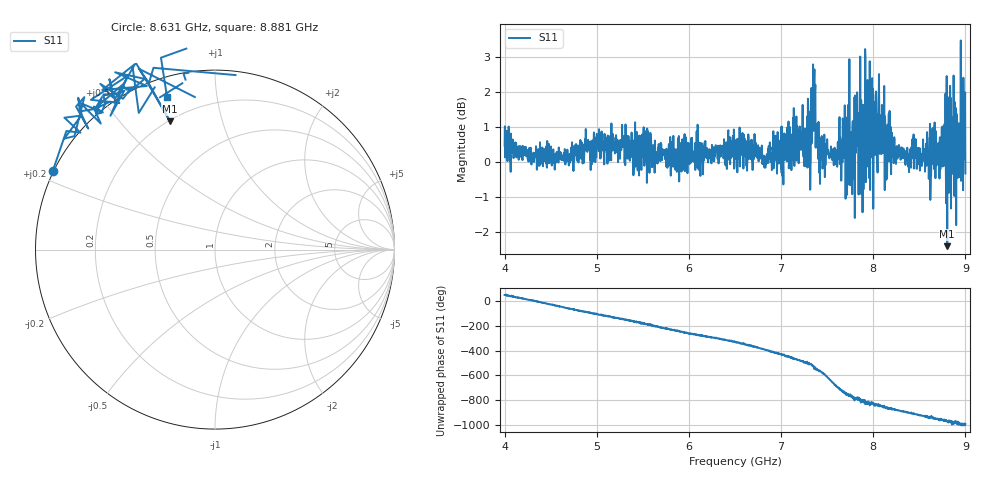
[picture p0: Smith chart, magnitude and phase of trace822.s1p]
! Created with skrf 1.8.0 (http://scikit-rf.org).
# Hz S RI R 50.0
!freq ReS11 ImS11
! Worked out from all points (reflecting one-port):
!   1601 points, 4 GHz to 9 GHz, reference 50 ohm
!   lowest |S11| = -2.4 dB at 8.803 GHz (marker M1), VSWR 7.23, Z = 10.3 + j34.4 ohm
!   phase of S11 starts at 50 deg and turns -1042 deg over the sweep
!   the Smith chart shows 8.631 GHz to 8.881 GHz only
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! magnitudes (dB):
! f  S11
! 4 GHz  0.5
! 4.625 GHz  0.0
! 5.25 GHz  0.1
! 5.875 GHz  0.2
! 6.5 GHz  0.3
! 6.822 GHz  0.0
! 7.125 GHz  0.1
! 7.262 GHz  0.2
! 7.328 GHz  1.1
! 7.35 GHz  2.2
! 7.4 GHz  1.1
! 7.441 GHz  0.7
! 7.75 GHz  0.2
! 7.775 GHz  1.0
! 7.828 GHz  1.8
! 7.881 GHz  0.9
! 7.928 GHz  2.1
! 7.981 GHz  0.3
! 8.05 GHz  1.4
! 8.066 GHz  1.1
! 8.375 GHz  0.2
! 8.612 GHz  0.7
! 8.656 GHz  0.9
! 8.803 GHz  -2.4
! 8.847 GHz  0.8
! 8.919 GHz  0.1
! 8.972 GHz  0.8
! 9 GHz  -0.3
